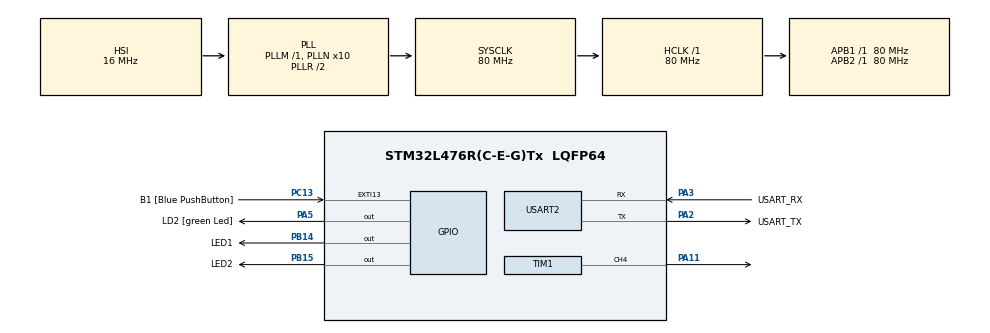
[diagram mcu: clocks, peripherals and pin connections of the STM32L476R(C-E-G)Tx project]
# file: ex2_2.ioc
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Mcu.Family=STM32L4
Mcu.Name=STM32L476R(C-E-G)Tx
Mcu.Package=LQFP64
NVIC.PriorityGroup=NVIC_PRIORITYGROUP_4
NVIC.USART2_IRQn=true\:0\:0\:false\:false\:true\:true\:true
PA11.Signal=S_TIM1_CH4
PA13\ (JTMS-SWDIO).GPIO_Label=TMS
PA13\ (JTMS-SWDIO).Mode=Serial_Wire
PA13\ (JTMS-SWDIO).Signal=SYS_JTMS-SWDIO
PA14\ (JTCK-SWCLK).GPIO_Label=TCK
PA14\ (JTCK-SWCLK).Mode=Serial_Wire
PA14\ (JTCK-SWCLK).Signal=SYS_JTCK-SWCLK
PA2.GPIO_Label=USART_TX
PA2.GPIO_Mode=GPIO_MODE_AF_PP
PA2.GPIO_PuPd=GPIO_NOPULL
PA2.GPIO_Speed=GPIO_SPEED_FREQ_VERY_HIGH
PA2.Mode=Asynchronous
PA2.Signal=USART2_TX
PA3.GPIO_Label=USART_RX
PA3.GPIO_Mode=GPIO_MODE_AF_PP
PA3.GPIO_PuPd=GPIO_NOPULL
PA3.GPIO_Speed=GPIO_SPEED_FREQ_VERY_HIGH
PA3.Mode=Asynchronous
PA3.Signal=USART2_RX
PA5.GPIO_Label=LD2 [green Led]
PA5.GPIO_ModeDefaultOutputPP=GPIO_MODE_OUTPUT_PP
PA5.GPIO_PuPd=GPIO_NOPULL
PA5.GPIO_Speed=GPIO_SPEED_FREQ_LOW
PA5.Signal=GPIO_Output
PB14.GPIO_Label=LED1
PB14.Signal=GPIO_Output
PB15.GPIO_Label=LED2
PB15.Signal=GPIO_Output
PB3\ (JTDO-TRACESWO).GPIO_Label=SWO
PB3\ (JTDO-TRACESWO).Signal=SYS_JTDO-SWO
PC13.GPIO_Label=B1 [Blue PushButton]
PC13.GPIO_ModeDefaultEXTI=GPIO_MODE_IT_FALLING
PC13.GPIO_PuPd=GPIO_NOPULL
PC13.Signal=GPXTI13
PC14-OSC32_IN\ (PC14).Mode=LSE-External-Oscillator
PC14-OSC32_IN\ (PC14).Signal=RCC_OSC32_IN
PC15-OSC32_OUT\ (PC15).Mode=LSE-External-Oscillator
PC15-OSC32_OUT\ (PC15).Signal=RCC_OSC32_OUT
PH0-OSC_IN\ (PH0).Signal=RCC_OSC_IN
PH1-OSC_OUT\ (PH1).Signal=RCC_OSC_OUT
ProjectManager.HeapSize=0x200
ProjectManager.StackSize=0x400
ProjectManager.TargetToolchain=STM32CubeIDE
RCC.ADCFreq_Value=64000000
RCC.AHBFreq_Value=80000000
RCC.APB1Freq_Value=80000000
RCC.APB1TimFreq_Value=80000000
RCC.APB2Freq_Value=80000000
RCC.APB2TimFreq_Value=80000000
RCC.CortexFreq_Value=80000000
RCC.HCLKFreq_Value=80000000
RCC.HSE_VALUE=8000000
RCC.HSI_VALUE=16000000
RCC.MSI_VALUE=4000000
RCC.PLLN=10
RCC.PLLSourceVirtual=RCC_PLLSOURCE_HSI
RCC.PREFETCH_ENABLE=1
RCC.SYSCLKFreq_VALUE=80000000
RCC.SYSCLKSource=RCC_SYSCLKSOURCE_PLLCLK
RCC.USBFreq_Value=64000000
RCC.VCOOutputFreq_Value=160000000
SH.S_TIM1_CH4.0=TIM1_CH4,PWM Generation4 CH4
TIM1.Channel-PWM\ Generation4\ CH4=TIM_CHANNEL_4
TIM1.Period=999
TIM1.Prescaler=79
USART2.VirtualMode-Asynchronous=VM_ASYNC
board=NUCLEO-L476RG

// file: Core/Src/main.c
/* USER CODE BEGIN Header */
/**
  ******************************************************************************
  * @file           : main.c
  * @brief          : Main program body
  ******************************************************************************
  * @attention
  *
  * <h2><center>&copy; Copyright (c) 2021 STMicroelectronics.
  * All rights reserved.</center></h2>
  *
  * This software component is licensed by ST under BSD 3-Clause license,
  * the "License"; You may not use this file except in compliance with the
  * License. You may obtain a copy of the License at:
  *                        opensource.org/licenses/BSD-3-Clause
  *
  ******************************************************************************
  */
/* USER CODE END Header */
#include "main.h"
#include "tim.h"
#include "usart.h"
#include "gpio.h"

/* USER CODE BEGIN Includes */

#include <stdio.h>

/* USER CODE END Includes */

/* USER CODE BEGIN PV */
uint16_t Duty;
uint8_t Received;
volatile int flag;

/* USER CODE END PV */

void SystemClock_Config(void);
/* USER CODE BEGIN PFP */
int _write(int file, char *ptr, int len){
	HAL_UART_Transmit_IT(&huart2, ptr, len);
	return len;
}

void HAL_UART_RxCpltCallback(UART_HandleTypeDef *huart) {

		switch(Received){
		case '0':
			flag=1;
			break;
		case '1':
			flag=2;
			break;
		case '2':
			flag=3;
			break;
		case '3':
			flag=4;
			break;
		case '4':
			flag=5;
			break;
		default:
			flag=0;
			break;
		}
		 HAL_UART_Receive_IT(&huart2, &Received, 1);
}
void Set_pwm_compare(){

	if(flag==1){
		Duty=0;
		printf("Wypelnienie ==0%% \r\n");
	}
	if(flag==2){
		Duty=1000/4;
		printf("Wypelnienie ==25%% \r\n");
	}
	if(flag==3){
		Duty=1000/2;
		printf("Wypelnienie ==50%% \r\n");
	}
	if(flag==4){
		Duty=1000*3/4;
		printf("Wypelnienie ==75%% \r\n");
	}
	if(flag==5){
		Duty=1000;
		printf("Wypelnienie ==100%% \r\n");
	}
	__HAL_TIM_SET_COMPARE(&htim1, TIM_CHANNEL_4, Duty);
	flag=0;
}
/* USER CODE END PFP */

int main(void)
{

  /* MCU Configuration--------------------------------------------------------*/

  /* Reset of all peripherals, Initializes the Flash interface and the Systick. */
  HAL_Init();

  /* Configure the system clock */
  SystemClock_Config();

  /* Initialize all configured peripherals */
  MX_GPIO_Init();
  MX_USART2_UART_Init();
  MX_TIM1_Init();
  /* USER CODE BEGIN 2 */
  HAL_UART_Receive_IT(&huart2, &Received, 1);
  __HAL_TIM_SET_COMPARE(&htim1, TIM_CHANNEL_4, Duty);
  HAL_TIM_PWM_Start(&htim1, TIM_CHANNEL_4);
  /* USER CODE END 2 */

  /* Infinite loop */
  /* USER CODE BEGIN WHILE */

  while (1)
  {
	  if(flag>0){
		  Set_pwm_compare();
	  }
	  HAL_Delay(10);

    /* USER CODE END WHILE */

  }
}

void SystemClock_Config(void)
{
  RCC_OscInitTypeDef RCC_OscInitStruct = {0};
  RCC_ClkInitTypeDef RCC_ClkInitStruct = {0};
  RCC_PeriphCLKInitTypeDef PeriphClkInit = {0};

  /** Initializes the RCC Oscillators according to the specified parameters
  * in the RCC_OscInitTypeDef structure.
  */
  RCC_OscInitStruct.OscillatorType = RCC_OSCILLATORTYPE_HSI;
  RCC_OscInitStruct.HSIState = RCC_HSI_ON;
  RCC_OscInitStruct.HSICalibrationValue = RCC_HSICALIBRATION_DEFAULT;
  RCC_OscInitStruct.PLL.PLLState = RCC_PLL_ON;
  RCC_OscInitStruct.PLL.PLLSource = RCC_PLLSOURCE_HSI;
  RCC_OscInitStruct.PLL.PLLM = 1;
  RCC_OscInitStruct.PLL.PLLN = 10;
  RCC_OscInitStruct.PLL.PLLP = RCC_PLLP_DIV7;
  RCC_OscInitStruct.PLL.PLLQ = RCC_PLLQ_DIV2;
  RCC_OscInitStruct.PLL.PLLR = RCC_PLLR_DIV2;
  if (HAL_RCC_OscConfig(&RCC_OscInitStruct) != HAL_OK)
  {
    Error_Handler();
  }
  /** Initializes the CPU, AHB and APB buses clocks
  */
  RCC_ClkInitStruct.ClockType = RCC_CLOCKTYPE_HCLK|RCC_CLOCKTYPE_SYSCLK
                              |RCC_CLOCKTYPE_PCLK1|RCC_CLOCKTYPE_PCLK2;
  RCC_ClkInitStruct.SYSCLKSource = RCC_SYSCLKSOURCE_PLLCLK;
  RCC_ClkInitStruct.AHBCLKDivider = RCC_SYSCLK_DIV1;
  RCC_ClkInitStruct.APB1CLKDivider = RCC_HCLK_DIV1;
  RCC_ClkInitStruct.APB2CLKDivider = RCC_HCLK_DIV1;

  if (HAL_RCC_ClockConfig(&RCC_ClkInitStruct, FLASH_LATENCY_4) != HAL_OK)
  {
    Error_Handler();
  }
  PeriphClkInit.PeriphClockSelection = RCC_PERIPHCLK_USART2;
  PeriphClkInit.Usart2ClockSelection = RCC_USART2CLKSOURCE_PCLK1;
  if (HAL_RCCEx_PeriphCLKConfig(&PeriphClkInit) != HAL_OK)
  {
    Error_Handler();
  }
  /** Configure the main internal regulator output voltage
  */
  if (HAL_PWREx_ControlVoltageScaling(PWR_REGULATOR_VOLTAGE_SCALE1) != HAL_OK)
  {
    Error_Handler();
  }
}

void Error_Handler(void)
{
}

/************************ (C) COPYRIGHT STMicroelectronics *****END OF FILE****/
